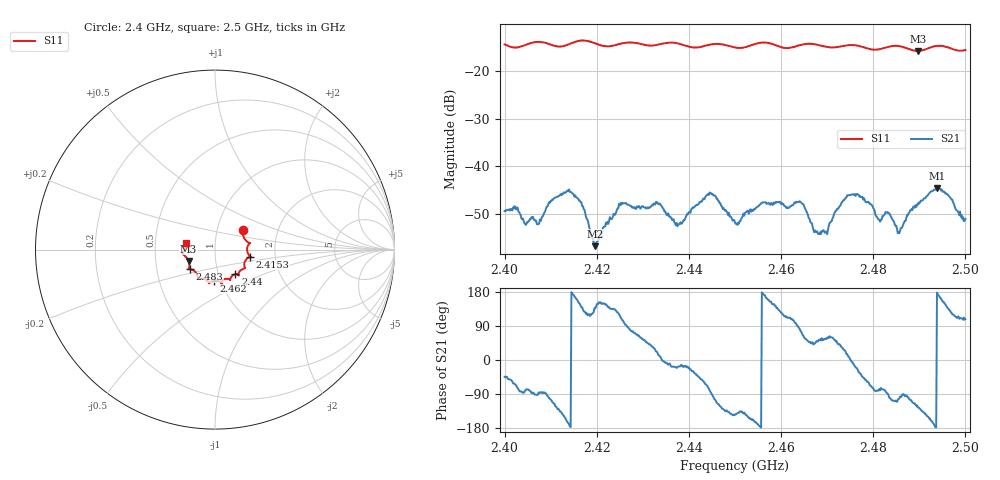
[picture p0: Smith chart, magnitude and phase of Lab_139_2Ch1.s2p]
# Hz S RI R 50
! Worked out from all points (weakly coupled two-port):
!   601 points, 2.4 GHz to 2.5 GHz, reference 50 ohm
!   highest |S21| = -44.53 dB at 2.4938 GHz (marker M1); lowest = -56.7 dB at 2.4197 GHz (marker M2)
!   lowest |S11| = -15.9 dB at 2.4897 GHz (marker M3), VSWR 1.38, Z = 36.9 - j4.8 ohm
!   |S11| at or under -10 dB: start of sweep to end of sweep
!   S12 and S22 are empty: the file has one direction only
!   S11 on the Smith chart (normalised r, x): 2.4 GHz: 1.33, +0.29; 2.4153 GHz: 1.48, -0.12; 2.44 GHz: 1.20, -0.34; 2.462 GHz: 0.93, -0.33; 2.483 GHz: 0.74, -0.17; 2.5 GHz: 0.72, +0.06
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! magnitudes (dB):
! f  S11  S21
! 2.4 GHz  -14.5  -49.3
! 2.4073 GHz  -14.0  -52.1
! 2.4153 GHz  -14.0  -46.1
! 2.4167 GHz  -13.7  -47.5
! 2.4197 GHz  -14.3  -56.7
! 2.4253 GHz  -14.3  -48.0
! 2.4333 GHz  -14.6  -47.7
! 2.4375 GHz  -14.3  -52.5
! 2.44 GHz  -15.0  -49.6
! 2.445 GHz  -14.5  -45.9
! 2.45 GHz  -15.2  -51.7
! 2.462 GHz  -15.2  -48.3
! 2.4645 GHz  -14.6  -47.7
! 2.4667 GHz  -14.4  -51.8
! 2.4698 GHz  -15.0  -53.6
! 2.4752 GHz  -14.7  -45.9
! 2.483 GHz  -15.1  -49.7
! 2.4833 GHz  -15.0  -49.8
! 2.4857 GHz  -14.9  -54.0
! 2.4897 GHz  -15.9  -48.0
! 2.4938 GHz  -14.8  -44.5
! 2.5 GHz  -15.7  -51.0
